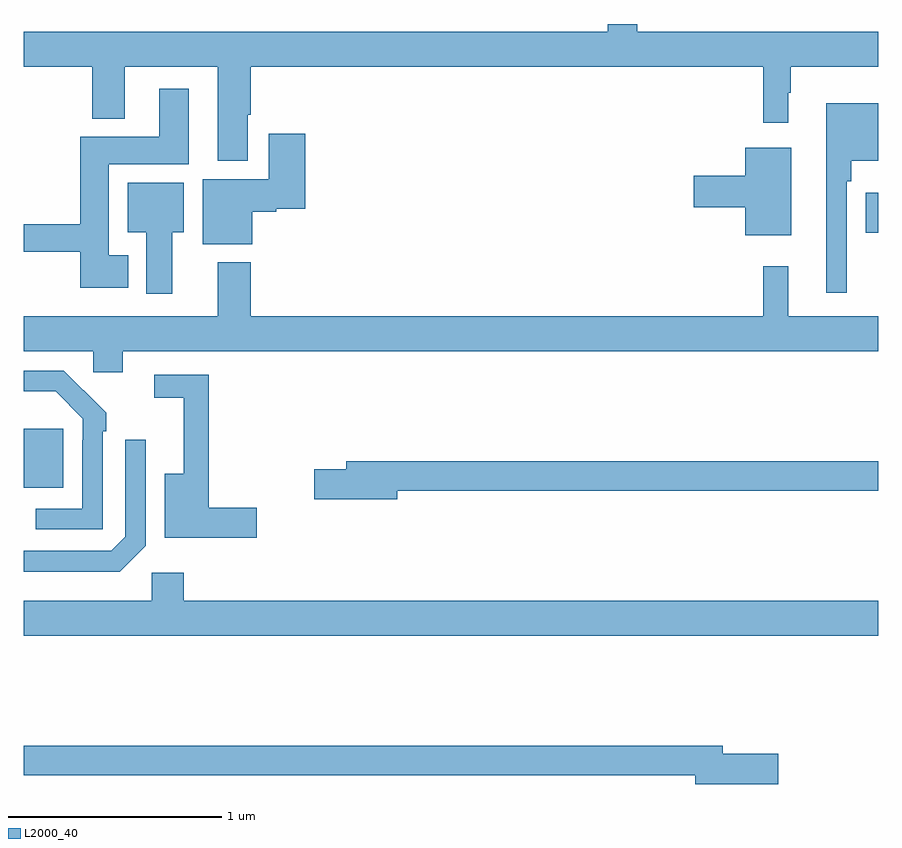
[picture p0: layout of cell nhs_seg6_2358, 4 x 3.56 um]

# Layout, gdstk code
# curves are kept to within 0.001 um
import gdstk
lib = gdstk.Library(unit=1e-6, precision=1e-09)
def R(c, l, rs):  # rectangles x0, y0, x1, y1
    for r in rs: c.add(gdstk.rectangle(r[:2], r[2:], *l))
def P(c, l, *ps):  # polygons
    for p in ps: c.add(gdstk.Polygon(p, *l))
L2000_40 = (2000, 40)

nhs_seg6_2358 = lib.new_cell('nhs_seg6_2358')
R(nhs_seg6_2358, L2000_40, [(251,981.329,251.185,981.604), (254.942,982.523,255,982.711)])
P(nhs_seg6_2358, L2000_40, [(252.049,983.074),(252.062,983.074),(252.062,983.3),(254.461,983.3),(254.461,983.037),(254.578,983.037),(254.578,983.177),(254.59,983.177),(254.59,983.3),(255,983.3),(255,983.464),(253.871,983.464),(253.871,983.5),(253.735,983.5),(253.735,983.464),(251,983.464),(251,983.3),(251.321,983.3),(251.321,983.057),(251.473,983.057),(251.473,983.3),(251.909,983.3),(251.909,982.859),(252.049,982.859)],
  [(251.488,982.417),(251.398,982.417),(251.398,982.844),(251.773,982.844),(251.773,983.197),(251.633,983.197),(251.633,982.972),(251.264,982.972),(251.264,982.562),(251,982.562),(251,982.434),(251.264,982.434),(251.264,982.265),(251.488,982.265)],
  [(254.853,982.763),(254.873,982.763),(254.873,982.859),(255,982.859),(255,983.128),(254.756,983.128),(254.756,982.242),(254.853,982.242)],
  [(252.07,982.622),(252.183,982.622),(252.183,982.634),(252.317,982.634),(252.317,982.987),(252.146,982.987),(252.146,982.774),(251.837,982.774),(251.837,982.469),(252.07,982.469)],
  [(254.593,982.921),(254.378,982.921),(254.378,982.79),(254.136,982.79),(254.136,982.643),(254.378,982.643),(254.378,982.511),(254.593,982.511)],
  [(251.695,982.526),(251.749,982.526),(251.749,982.756),(251.486,982.756),(251.486,982.526),(251.573,982.526),(251.573,982.236),(251.695,982.236)],
  [(251.464,981.968),(255,981.968),(255,982.132),(254.579,982.132),(254.579,982.366),(254.461,982.366),(254.461,982.132),(252.062,982.132),(252.062,982.384),(251.909,982.384),(251.909,982.132),(251,982.132),(251,981.968),(251.325,981.968),(251.325,981.87),(251.464,981.87)],
  [(251.37,981.593),(251.385,981.593),(251.385,981.681),(251.188,981.876),(251,981.876),(251,981.78),(251.149,981.78),(251.277,981.651),(251.277,981.551),(251.274,981.551),(251.274,981.231),(251.055,981.231),(251.055,981.135),(251.37,981.135)],
  [(252.091,981.236),(251.867,981.236),(251.867,981.858),(251.61,981.858),(251.61,981.75),(251.75,981.75),(251.75,981.394),(251.66,981.394),(251.66,981.094),(252.091,981.094)],
  [(251.571,981.057),(251.571,981.553),(251.475,981.553),(251.475,981.099),(251.409,981.033),(251,981.033),(251,980.936),(251.45,980.936)],
  [(252.748,981.316),(255,981.316),(255,981.452),(252.509,981.452),(252.509,981.416),(252.36,981.416),(252.36,981.274),(252.748,981.274)],
  [(255,980.8),(251.75,980.8),(251.75,980.932),(251.598,980.932),(251.598,980.8),(251,980.8),(251,980.636),(255,980.636)],
  [(254.533,980.084),(254.272,980.084),(254.272,980.12),(251,980.12),(251,979.984),(254.144,979.984),(254.144,979.942),(254.533,979.942)])

lib.write_gds('nhs_seg6_2358.gds')
